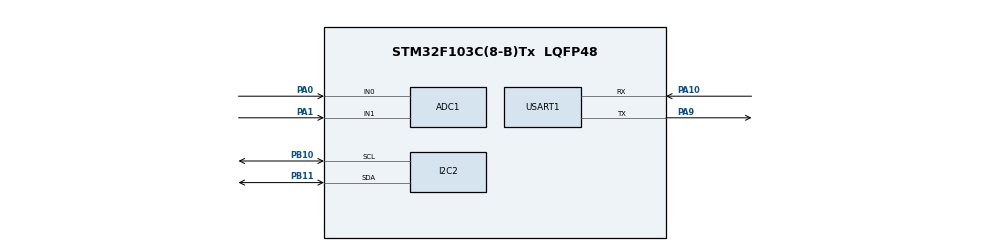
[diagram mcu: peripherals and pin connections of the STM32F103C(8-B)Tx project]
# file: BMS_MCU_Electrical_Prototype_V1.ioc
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ADC1.Channel-0\#ChannelRegularConversion=ADC_CHANNEL_0
ADC1.NbrOfConversionFlag=1
ADC1.Rank-0\#ChannelRegularConversion=1
ADC1.SamplingTime-0\#ChannelRegularConversion=ADC_SAMPLETIME_1CYCLE_5
ADC1.master=1
I2C2.I2C_Mode=I2C_Standard
Mcu.Family=STM32F1
Mcu.Name=STM32F103C(8-B)Tx
Mcu.Package=LQFP48
NVIC.PriorityGroup=NVIC_PRIORITYGROUP_4
PA0-WKUP.Signal=ADCx_IN0
PA1.Signal=ADCx_IN1
PA10.Mode=Asynchronous
PA10.Signal=USART1_RX
PA9.Mode=Asynchronous
PA9.Signal=USART1_TX
PB10.Mode=I2C
PB10.Signal=I2C2_SCL
PB11.Mode=I2C
PB11.Signal=I2C2_SDA
ProjectManager.HeapSize=0x200
ProjectManager.StackSize=0x400
ProjectManager.TargetToolchain=STM32CubeIDE
RCC.APB1Freq_Value=8000000
RCC.APB2Freq_Value=8000000
SH.ADCx_IN0.0=ADC1_IN0,IN0
SH.ADCx_IN1.0=ADC1_IN1,IN1
USART1.VirtualMode=VM_ASYNC
VP_SYS_VS_ND.Mode=No_Debug
board=custom

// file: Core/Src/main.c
/* USER CODE BEGIN Header */
/**
  ******************************************************************************
  * @file           : main.c
  * @brief          : Main program body
  ******************************************************************************
  * @attention
  *
  * Copyright (c) 2026 STMicroelectronics.
  * All rights reserved.
  *
  * This software is licensed under terms that can be found in the LICENSE file
  * in the root directory of this software component.
  * If no LICENSE file comes with this software, it is provided AS-IS.
  *
  ******************************************************************************
  */
/* USER CODE END Header */
#include "main.h"

/* USER CODE BEGIN Includes */
#include "comm.h"
#include "ina260.h"
/* USER CODE END Includes */

ADC_HandleTypeDef hadc1;

I2C_HandleTypeDef hi2c2;

UART_HandleTypeDef huart1;

void SystemClock_Config(void);
static void MX_GPIO_Init(void);
static void MX_ADC1_Init(void);
static void MX_USART1_UART_Init(void);
static void MX_I2C2_Init(void);

/* USER CODE BEGIN 0 */
uint8_t i;
char msg[50];
/* USER CODE END 0 */

int main(void)
{

  /* MCU Configuration--------------------------------------------------------*/

  /* Reset of all peripherals, Initializes the Flash interface and the Systick. */
  HAL_Init();

  /* Configure the system clock */
  SystemClock_Config();

  /* Initialize all configured peripherals */
  MX_GPIO_Init();
  MX_ADC1_Init();
  MX_USART1_UART_Init();
  MX_I2C2_Init();
  /* USER CODE BEGIN 2 */
  BMS_Data_t bmsDataPayload;
  INA260_Data_t sensorData;

  uint32_t last_voltage_mV = 0;
  int32_t last_current_mA = 0;
  uint32_t last_power_mW = 0;

  // Initialize the sensor using I2C2
   INA260_Init(&hi2c2);

  /* USER CODE END 2 */

  /* Infinite loop */
  while (1)
  {

    /* USER CODE BEGIN 3 */

		    uint8_t data[2]; // Two-byte buffer to receive 16-bit big-endian register values over I2C
		    char msg[128];   // String buffer to format and hold text messages for UART debug output

		    uint16_t raw_v = 0, raw_p = 0;
		    int16_t raw_i = 0; // Current can be negative

		    BMS_Data_t bmsDataPayload;

		    // --- Read Battery Voltage Register (0x02) ---
		    if (HAL_I2C_Mem_Read(&hi2c2, (0x40 << 1), 0x02, I2C_MEMADD_SIZE_8BIT, data, 2, 100) == HAL_OK)
		    {
		        raw_v = (data[0] << 8) | data[1];

		        // --- Read Battery Current Register (0x01) ---
		        HAL_I2C_Mem_Read(&hi2c2, (0x40 << 1), 0x01, I2C_MEMADD_SIZE_8BIT, data, 2, 100);
		        raw_i = (int16_t)((data[0] << 8) | data[1]);

		        // --- Read Battery Power Register (0x03) ---
		        HAL_I2C_Mem_Read(&hi2c2, (0x40 << 1), 0x03, I2C_MEMADD_SIZE_8BIT, data, 2, 100);
		        raw_p = (data[0] << 8) | data[1];

		        // --- Convert raw data to meaningful values ---
		        uint32_t voltage_mV = (raw_v * 5) / 4;      // 1.25 mV per bit
		        int32_t current_mA = (raw_i * 5) / 4;       // 1.25 mA per bit
		        uint32_t power_mW   = raw_p * 10;           // 10 mW per bit

		        // --- Map to BMS payload ---
		        bmsDataPayload.voltage_battery = voltage_mV / 100;
		        if (current_mA < 0)
		        {
		            bmsDataPayload.current_battery = (-current_mA) / 100;
		            bmsDataPayload.status = 'C'; // Charging
		        }
		        else
		        {
		            bmsDataPayload.current_battery = current_mA / 100;
		            bmsDataPayload.status = 'D'; // Discharging
		        }
		        bmsDataPayload.power_battery = power_mW / 100;

		        // --- Generation values set to zero ---
		        bmsDataPayload.voltage_generation = 0;
		        bmsDataPayload.current_generation = 0;
		        bmsDataPayload.power_generation   = 0;

		        // --- Placeholder SOC ---
		        bmsDataPayload.percentage = 85;

		        // --- Transmit BMS payload ---
		        COMM_TransmitBMSData(&huart1, &bmsDataPayload);

		        // --- Also print raw readings for debug ---
		        //sprintf(msg, "V: %lu mV | I: %ld mA | P: %lu mW\r\n", voltage_mV, current_mA, power_mW);
		        //HAL_UART_Transmit(&huart1, (uint8_t*)msg, strlen(msg), HAL_MAX_DELAY);
		    }
		    else
		    {
		        // --- I2C read failed, keep previous values ---
		        //sprintf(msg, "INA260 read FAILED\r\n");
		        //HAL_UART_Transmit(&huart1, (uint8_t*)msg, strlen(msg), HAL_MAX_DELAY);

		        // --- Recover I2C bus ---
		        HAL_I2C_DeInit(&hi2c2);
		        HAL_Delay(5);
		        HAL_I2C_Init(&hi2c2);
		    }

		    // --- Separator for clarity ---
		    //sprintf(msg, "----------------------\r\n");
		    //HAL_UART_Transmit(&huart1, (uint8_t*)msg, strlen(msg), HAL_MAX_DELAY);

		    // Wait before next cycle
		    HAL_Delay(1000);

  }
  /* USER CODE END 3 */
}

void SystemClock_Config(void)
{
  RCC_OscInitTypeDef RCC_OscInitStruct = {0};
  RCC_ClkInitTypeDef RCC_ClkInitStruct = {0};
  RCC_PeriphCLKInitTypeDef PeriphClkInit = {0};

  /** Initializes the RCC Oscillators according to the specified parameters
  * in the RCC_OscInitTypeDef structure.
  */
  RCC_OscInitStruct.OscillatorType = RCC_OSCILLATORTYPE_HSI;
  RCC_OscInitStruct.HSIState = RCC_HSI_ON;
  RCC_OscInitStruct.HSICalibrationValue = RCC_HSICALIBRATION_DEFAULT;
  RCC_OscInitStruct.PLL.PLLState = RCC_PLL_NONE;
  if (HAL_RCC_OscConfig(&RCC_OscInitStruct) != HAL_OK)
  {
    Error_Handler();
  }

  /** Initializes the CPU, AHB and APB buses clocks
  */
  RCC_ClkInitStruct.ClockType = RCC_CLOCKTYPE_HCLK|RCC_CLOCKTYPE_SYSCLK
                              |RCC_CLOCKTYPE_PCLK1|RCC_CLOCKTYPE_PCLK2;
  RCC_ClkInitStruct.SYSCLKSource = RCC_SYSCLKSOURCE_HSI;
  RCC_ClkInitStruct.AHBCLKDivider = RCC_SYSCLK_DIV1;
  RCC_ClkInitStruct.APB1CLKDivider = RCC_HCLK_DIV1;
  RCC_ClkInitStruct.APB2CLKDivider = RCC_HCLK_DIV1;

  if (HAL_RCC_ClockConfig(&RCC_ClkInitStruct, FLASH_LATENCY_0) != HAL_OK)
  {
    Error_Handler();
  }
  PeriphClkInit.PeriphClockSelection = RCC_PERIPHCLK_ADC;
  PeriphClkInit.AdcClockSelection = RCC_ADCPCLK2_DIV2;
  if (HAL_RCCEx_PeriphCLKConfig(&PeriphClkInit) != HAL_OK)
  {
    Error_Handler();
  }
}

static void MX_ADC1_Init(void)
{

  ADC_ChannelConfTypeDef sConfig = {0};

  /** Common config
  */
  hadc1.Instance = ADC1;
  hadc1.Init.ScanConvMode = ADC_SCAN_DISABLE;
  hadc1.Init.ContinuousConvMode = DISABLE;
  hadc1.Init.DiscontinuousConvMode = DISABLE;
  hadc1.Init.ExternalTrigConv = ADC_SOFTWARE_START;
  hadc1.Init.DataAlign = ADC_DATAALIGN_RIGHT;
  hadc1.Init.NbrOfConversion = 1;
  if (HAL_ADC_Init(&hadc1) != HAL_OK)
  {
    Error_Handler();
  }

  /** Configure Regular Channel
  */
  sConfig.Channel = ADC_CHANNEL_0;
  sConfig.Rank = ADC_REGULAR_RANK_1;
  sConfig.SamplingTime = ADC_SAMPLETIME_1CYCLE_5;
  if (HAL_ADC_ConfigChannel(&hadc1, &sConfig) != HAL_OK)
  {
    Error_Handler();
  }

}

static void MX_I2C2_Init(void)
{

  hi2c2.Instance = I2C2;
  hi2c2.Init.ClockSpeed = 100000;
  hi2c2.Init.DutyCycle = I2C_DUTYCYCLE_2;
  hi2c2.Init.OwnAddress1 = 0;
  hi2c2.Init.AddressingMode = I2C_ADDRESSINGMODE_7BIT;
  hi2c2.Init.DualAddressMode = I2C_DUALADDRESS_DISABLE;
  hi2c2.Init.OwnAddress2 = 0;
  hi2c2.Init.GeneralCallMode = I2C_GENERALCALL_DISABLE;
  hi2c2.Init.NoStretchMode = I2C_NOSTRETCH_DISABLE;
  if (HAL_I2C_Init(&hi2c2) != HAL_OK)
  {
    Error_Handler();
  }

}

static void MX_USART1_UART_Init(void)
{

  huart1.Instance = USART1;
  huart1.Init.BaudRate = 115200;
  huart1.Init.WordLength = UART_WORDLENGTH_8B;
  huart1.Init.StopBits = UART_STOPBITS_1;
  huart1.Init.Parity = UART_PARITY_NONE;
  huart1.Init.Mode = UART_MODE_TX_RX;
  huart1.Init.HwFlowCtl = UART_HWCONTROL_NONE;
  huart1.Init.OverSampling = UART_OVERSAMPLING_16;
  if (HAL_UART_Init(&huart1) != HAL_OK)
  {
    Error_Handler();
  }

}

static void MX_GPIO_Init(void)
{

  /* GPIO Ports Clock Enable */
  __HAL_RCC_GPIOA_CLK_ENABLE();
  __HAL_RCC_GPIOB_CLK_ENABLE();

}

void Error_Handler(void)
{
  __disable_irq();
  while (1)
  {
  }
}
